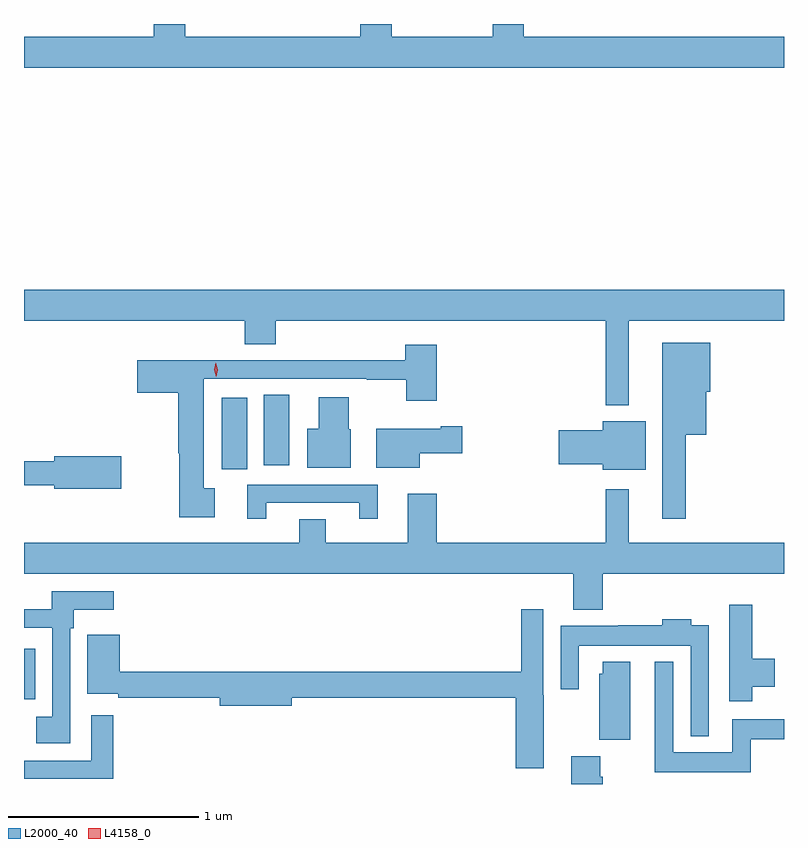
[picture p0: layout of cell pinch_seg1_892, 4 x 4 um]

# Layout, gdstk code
import gdstk
lib = gdstk.Library(unit=1e-6, precision=1e-09)
def R(c, l, rs):  # rectangles x0, y0, x1, y1
    for r in rs: c.add(gdstk.rectangle(r[:2], r[2:], *l))
def P(c, l, *ps):  # polygons
    for p in ps: c.add(gdstk.Polygon(p, *l))
L2000_40 = (2000, 40)
L4158_0 = (4158, 0)

pinch_seg1_892 = lib.new_cell('pinch_seg1_892')
R(pinch_seg1_892, L2000_40, [(541.271,531.092,541.33,531.358), (542.312,532.302,542.446,532.678), (542.534,532.323,542.668,532.694)])
P(pinch_seg1_892, L2000_40, [(543.041,534.646),(543.041,534.58),(542.12,534.58),(542.12,534.646),(541.955,534.646),(541.955,534.58),(541.271,534.58),(541.271,534.416),(545.271,534.416),(545.271,534.58),(543.902,534.58),(543.902,534.646),(543.737,534.646),(543.737,534.58),(543.206,534.58),(543.206,534.646)],
  [(544.453,533.084),(545.271,533.084),(545.271,533.248),(541.271,533.248),(541.271,533.084),(542.432,533.084),(542.432,532.96),(542.597,532.96),(542.597,533.084),(544.332,533.084),(544.332,532.64),(544.453,532.64)],
  [(544.753,532.484),(544.861,532.484),(544.861,532.71),(544.882,532.71),(544.882,532.969),(544.631,532.969),(544.631,532.041),(544.753,532.041)],
  [(542.275,532.202),(542.218,532.202),(542.218,532.779),(543.076,532.779),(543.076,532.774),(543.283,532.774),(543.283,532.662),(543.443,532.662),(543.443,532.957),(543.278,532.957),(543.278,532.877),(542.68,532.877),(542.68,532.875),(542.314,532.875),(542.314,532.877),(541.866,532.877),(541.866,532.706),(542.084,532.706),(542.084,532.388),(542.089,532.388),(542.089,532.049),(542.275,532.049)],
  [(542.992,532.512),(542.98,532.512),(542.98,532.681),(542.822,532.681),(542.822,532.516),(542.762,532.516),(542.762,532.31),(542.992,532.31)],
  [(544.543,532.555),(544.316,532.555),(544.316,532.508),(544.086,532.508),(544.086,532.33),(544.316,532.33),(544.316,532.301),(544.543,532.301)],
  [(543.355,532.387),(543.577,532.387),(543.577,532.529),(543.464,532.529),(543.464,532.516),(543.125,532.516),(543.125,532.31),(543.355,532.31)],
  [(541.783,532.37),(541.43,532.37),(541.43,532.346),(541.271,532.346),(541.271,532.218),(541.43,532.218),(541.43,532.199),(541.783,532.199)],
  [(542.545,532.125),(543.035,532.125),(543.035,532.041),(543.133,532.041),(543.133,532.221),(542.447,532.221),(542.447,532.041),(542.545,532.041)],
  [(544.316,531.752),(545.271,531.752),(545.271,531.916),(544.453,531.916),(544.453,532.198),(544.332,532.198),(544.332,531.916),(543.443,531.916),(543.443,532.174),(543.29,532.174),(543.29,531.916),(542.86,531.916),(542.86,532.04),(542.72,532.04),(542.72,531.916),(541.271,531.916),(541.271,531.752),(544.163,531.752),(544.163,531.563),(544.316,531.563)],
  [(541.515,531.467),(541.532,531.467),(541.532,531.563),(541.744,531.563),(541.744,531.66),(541.417,531.66),(541.417,531.566),(541.271,531.566),(541.271,531.468),(541.419,531.468),(541.419,531.001),(541.335,531.001),(541.335,530.861),(541.515,530.861)],
  [(545.104,531.158),(545.221,531.158),(545.221,531.306),(545.104,531.306),(545.104,531.589),(544.982,531.589),(544.982,531.081),(545.104,531.081)],
  [(544.006,531.113),(544.005,531.113),(544.005,531.565),(543.889,531.565),(543.889,531.236),(541.774,531.236),(541.774,531.432),(541.605,531.432),(541.605,531.329),(541.604,531.329),(541.604,531.12),(541.768,531.12),(541.768,531.1),(542.3,531.1),(542.3,531.058),(542.68,531.058),(542.68,531.1),(543.86,531.1),(543.86,530.73),(544.006,530.73)],
  [(544.875,531.481),(544.783,531.481),(544.783,531.514),(544.631,531.514),(544.631,531.481),(544.399,531.481),(544.399,531.478),(544.095,531.478),(544.095,531.144),(544.191,531.144),(544.191,531.374),(544.779,531.374),(544.779,530.897),(544.875,530.897)],
  [(545.096,530.882),(545.271,530.882),(545.271,530.986),(544.998,530.986),(544.998,530.812),(544.689,530.812),(544.689,531.289),(544.592,531.289),(544.592,530.708),(545.096,530.708)],
  [(544.462,531.289),(544.316,531.289),(544.316,531.225),(544.298,531.225),(544.298,530.878),(544.462,530.878)],
  [(541.742,531.007),(541.626,531.007),(541.626,530.769),(541.271,530.769),(541.271,530.673),(541.742,530.673)],
  [(544.316,530.684),(544.303,530.684),(544.303,530.793),(544.151,530.793),(544.151,530.646),(544.316,530.646)])
P(pinch_seg1_892, L4158_0, [(542.283,532.79),(542.283,532.79),(542.272,532.826),(542.28,532.862),(542.28,532.862),(542.28,532.862),(542.292,532.826),(542.284,532.79)])

lib.write_gds('pinch_seg1_892.gds')
